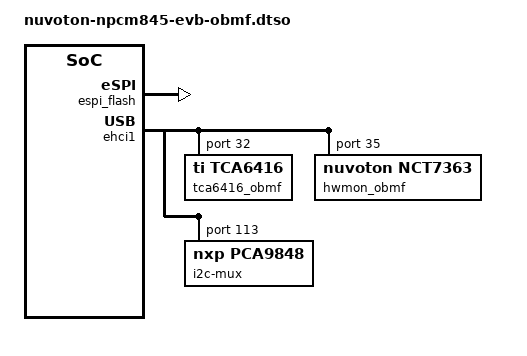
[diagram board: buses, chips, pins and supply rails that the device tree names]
// SPDX-License-Identifier: GPL-2.0
/*
 * OBMF (Open Boot and Management Framework) overlay for the Nuvoton NPCM845 EVB.
 *
 * Describes the OBMF SMC on ehci1 port 1: eSPI/SPI
 * flash, GPIO/SGPIO/VW GPIO, I2C controller/target and I3C channels,
 * plus the reserved memory backing the eSPI flash.
 *
 * Applied at build time on nuvoton-npcm845-evb.dtb to produce
 * nuvoton-npcm845-evb-obmf.dtb.
 */

/dts-v1/;
/plugin/;

#include <dt-bindings/i2c/i2c.h>

/*
 * Overlay labels cannot be referenced from /aliases (dtc would emit the
 * fragment path), so the OBMF I2C channels are aliased by absolute path.
 */
&{/aliases} {
	i2c27 = "/ahb/usb@f0828100/smc@1/i2c-ch@10/i2c";
	i2c28 = "/ahb/usb@f0828100/smc@1/i2c-ch@11/i2c";
	i2c29 = "/ahb/usb@f0828100/smc@1/i2c-ch@12/i2c";
	i2c30 = "/ahb/usb@f0828100/smc@1/i2c-ch@13/i2c";
};

&{/reserved-memory} {
	#address-cells = <2>;
	#size-cells = <2>;

	espi_flash_memory: espi_flash@10000000 {
		reg = <0x0 0x10000000 0x0 0x4000000>;
		no-map;
	};
};

&espi_flash {
	memory-region = <&espi_flash_memory>;
	status = "okay";
};

&ehci1 {
	#address-cells = <1>;
	#size-cells = <0>;

	smc@1 {
		reg = <1>;
		#address-cells = <1>;
		#size-cells = <0>;

		spi@4 {
			reg = <4>;
			nuvoton,flash-type = "espi";
			nuvoton,mtd-name = "npcm-espi-flash";
		};

		smc-gpio@5 {
			reg = <5>;
			gpio-line-names =
				"SMC1GPIO0",  "SMC1GPIO1",  "SMC1GPIO2",  "SMC1GPIO3",
				"SMC1GPIO4",  "SMC1GPIO5",  "SMC1GPIO6",  "SMC1GPIO7",
				"SMC1GPIO8",  "SMC1GPIO9",  "SMC1GPIO10";
		};

		sgpio0@6 {
			reg = <6>;
			gpio-line-names =
				"SMC1SGPIO0GPIO0",   "SMC1SGPIO0GPIO1",   "SMC1SGPIO0GPIO2",   "SMC1SGPIO0GPIO3",
				"SMC1SGPIO0GPIO4",   "SMC1SGPIO0GPIO5",   "SMC1SGPIO0GPIO6",   "SMC1SGPIO0GPIO7",
				"SMC1SGPIO0GPIO8",   "SMC1SGPIO0GPIO9",   "SMC1SGPIO0GPIO10",  "SMC1SGPIO0GPIO11",
				"SMC1SGPIO0GPIO12",  "SMC1SGPIO0GPIO13",  "SMC1SGPIO0GPIO14",  "SMC1SGPIO0GPIO15",
				"SMC1SGPIO0GPIO16",  "SMC1SGPIO0GPIO17",  "SMC1SGPIO0GPIO18",  "SMC1SGPIO0GPIO19",
				"SMC1SGPIO0GPIO20",  "SMC1SGPIO0GPIO21",  "SMC1SGPIO0GPIO22",  "SMC1SGPIO0GPIO23",
				"SMC1SGPIO0GPIO24",  "SMC1SGPIO0GPIO25",  "SMC1SGPIO0GPIO26",  "SMC1SGPIO0GPIO27",
				"SMC1SGPIO0GPIO28",  "SMC1SGPIO0GPIO29",  "SMC1SGPIO0GPIO30",  "SMC1SGPIO0GPIO31",
				"SMC1SGPIO0GPIO32",  "SMC1SGPIO0GPIO33",  "SMC1SGPIO0GPIO34",  "SMC1SGPIO0GPIO35",
				"SMC1SGPIO0GPIO36",  "SMC1SGPIO0GPIO37",  "SMC1SGPIO0GPIO38",  "SMC1SGPIO0GPIO39",
				"SMC1SGPIO0GPIO40",  "SMC1SGPIO0GPIO41",  "SMC1SGPIO0GPIO42",  "SMC1SGPIO0GPIO43",
				"SMC1SGPIO0GPIO44",  "SMC1SGPIO0GPIO45",  "SMC1SGPIO0GPIO46",  "SMC1SGPIO0GPIO47",
				"SMC1SGPIO0GPIO48",  "SMC1SGPIO0GPIO49",  "SMC1SGPIO0GPIO50",  "SMC1SGPIO0GPIO51",
				"SMC1SGPIO0GPIO52",  "SMC1SGPIO0GPIO53",  "SMC1SGPIO0GPIO54",  "SMC1SGPIO0GPIO55",
				"SMC1SGPIO0GPIO56",  "SMC1SGPIO0GPIO57",  "SMC1SGPIO0GPIO58",  "SMC1SGPIO0GPIO59",
				"SMC1SGPIO0GPIO60",  "SMC1SGPIO0GPIO61",  "SMC1SGPIO0GPIO62",  "SMC1SGPIO0GPIO63",
				"SMC1SGPIO0GPIO64",  "SMC1SGPIO0GPIO65",  "SMC1SGPIO0GPIO66",  "SMC1SGPIO0GPIO67",
				"SMC1SGPIO0GPIO68",  "SMC1SGPIO0GPIO69",  "SMC1SGPIO0GPIO70",  "SMC1SGPIO0GPIO71",
				"SMC1SGPIO0GPIO72",  "SMC1SGPIO0GPIO73",  "SMC1SGPIO0GPIO74",  "SMC1SGPIO0GPIO75",
				"SMC1SGPIO0GPIO76",  "SMC1SGPIO0GPIO77",  "SMC1SGPIO0GPIO78",  "SMC1SGPIO0GPIO79",
				"SMC1SGPIO0GPIO80",  "SMC1SGPIO0GPIO81",  "SMC1SGPIO0GPIO82",  "SMC1SGPIO0GPIO83",
				"SMC1SGPIO0GPIO84",  "SMC1SGPIO0GPIO85",  "SMC1SGPIO0GPIO86",  "SMC1SGPIO0GPIO87",
				"SMC1SGPIO0GPIO88",  "SMC1SGPIO0GPIO89",  "SMC1SGPIO0GPIO90",  "SMC1SGPIO0GPIO91",
				"SMC1SGPIO0GPIO92",  "SMC1SGPIO0GPIO93",  "SMC1SGPIO0GPIO94",  "SMC1SGPIO0GPIO95",
				"SMC1SGPIO0GPIO96",  "SMC1SGPIO0GPIO97",  "SMC1SGPIO0GPIO98",  "SMC1SGPIO0GPIO99",
				"SMC1SGPIO0GPIO100", "SMC1SGPIO0GPIO101", "SMC1SGPIO0GPIO102", "SMC1SGPIO0GPIO103",
				"SMC1SGPIO0GPIO104", "SMC1SGPIO0GPIO105", "SMC1SGPIO0GPIO106", "SMC1SGPIO0GPIO107",
				"SMC1SGPIO0GPIO108", "SMC1SGPIO0GPIO109", "SMC1SGPIO0GPIO110", "SMC1SGPIO0GPIO111",
				"SMC1SGPIO0GPIO112", "SMC1SGPIO0GPIO113", "SMC1SGPIO0GPIO114", "SMC1SGPIO0GPIO115",
				"SMC1SGPIO0GPIO116", "SMC1SGPIO0GPIO117", "SMC1SGPIO0GPIO118", "SMC1SGPIO0GPIO119",
				"SMC1SGPIO0GPIO120", "SMC1SGPIO0GPIO121", "SMC1SGPIO0GPIO122", "SMC1SGPIO0GPIO123",
				"SMC1SGPIO0GPIO124", "SMC1SGPIO0GPIO125", "SMC1SGPIO0GPIO126", "SMC1SGPIO0GPIO127";
		};

		sgpio1@7 {
			reg = <7>;
			gpio-line-names =
				"SMC1SGPIO1GPIO0",   "SMC1SGPIO1GPIO1",   "SMC1SGPIO1GPIO2",   "SMC1SGPIO1GPIO3",
				"SMC1SGPIO1GPIO4",   "SMC1SGPIO1GPIO5",   "SMC1SGPIO1GPIO6",   "SMC1SGPIO1GPIO7",
				"SMC1SGPIO1GPIO8",   "SMC1SGPIO1GPIO9",   "SMC1SGPIO1GPIO10",  "SMC1SGPIO1GPIO11",
				"SMC1SGPIO1GPIO12",  "SMC1SGPIO1GPIO13",  "SMC1SGPIO1GPIO14",  "SMC1SGPIO1GPIO15",
				"SMC1SGPIO1GPIO16",  "SMC1SGPIO1GPIO17",  "SMC1SGPIO1GPIO18",  "SMC1SGPIO1GPIO19",
				"SMC1SGPIO1GPIO20",  "SMC1SGPIO1GPIO21",  "SMC1SGPIO1GPIO22",  "SMC1SGPIO1GPIO23",
				"SMC1SGPIO1GPIO24",  "SMC1SGPIO1GPIO25",  "SMC1SGPIO1GPIO26",  "SMC1SGPIO1GPIO27",
				"SMC1SGPIO1GPIO28",  "SMC1SGPIO1GPIO29",  "SMC1SGPIO1GPIO30",  "SMC1SGPIO1GPIO31",
				"SMC1SGPIO1GPIO32",  "SMC1SGPIO1GPIO33",  "SMC1SGPIO1GPIO34",  "SMC1SGPIO1GPIO35",
				"SMC1SGPIO1GPIO36",  "SMC1SGPIO1GPIO37",  "SMC1SGPIO1GPIO38",  "SMC1SGPIO1GPIO39",
				"SMC1SGPIO1GPIO40",  "SMC1SGPIO1GPIO41",  "SMC1SGPIO1GPIO42",  "SMC1SGPIO1GPIO43",
				"SMC1SGPIO1GPIO44",  "SMC1SGPIO1GPIO45",  "SMC1SGPIO1GPIO46",  "SMC1SGPIO1GPIO47",
				"SMC1SGPIO1GPIO48",  "SMC1SGPIO1GPIO49",  "SMC1SGPIO1GPIO50",  "SMC1SGPIO1GPIO51",
				"SMC1SGPIO1GPIO52",  "SMC1SGPIO1GPIO53",  "SMC1SGPIO1GPIO54",  "SMC1SGPIO1GPIO55",
				"SMC1SGPIO1GPIO56",  "SMC1SGPIO1GPIO57",  "SMC1SGPIO1GPIO58",  "SMC1SGPIO1GPIO59",
				"SMC1SGPIO1GPIO60",  "SMC1SGPIO1GPIO61",  "SMC1SGPIO1GPIO62",  "SMC1SGPIO1GPIO63",
				"SMC1SGPIO1GPIO64",  "SMC1SGPIO1GPIO65",  "SMC1SGPIO1GPIO66",  "SMC1SGPIO1GPIO67",
				"SMC1SGPIO1GPIO68",  "SMC1SGPIO1GPIO69",  "SMC1SGPIO1GPIO70",  "SMC1SGPIO1GPIO71",
				"SMC1SGPIO1GPIO72",  "SMC1SGPIO1GPIO73",  "SMC1SGPIO1GPIO74",  "SMC1SGPIO1GPIO75",
				"SMC1SGPIO1GPIO76",  "SMC1SGPIO1GPIO77",  "SMC1SGPIO1GPIO78",  "SMC1SGPIO1GPIO79",
				"SMC1SGPIO1GPIO80",  "SMC1SGPIO1GPIO81",  "SMC1SGPIO1GPIO82",  "SMC1SGPIO1GPIO83",
				"SMC1SGPIO1GPIO84",  "SMC1SGPIO1GPIO85",  "SMC1SGPIO1GPIO86",  "SMC1SGPIO1GPIO87",
				"SMC1SGPIO1GPIO88",  "SMC1SGPIO1GPIO89",  "SMC1SGPIO1GPIO90",  "SMC1SGPIO1GPIO91",
				"SMC1SGPIO1GPIO92",  "SMC1SGPIO1GPIO93",  "SMC1SGPIO1GPIO94",  "SMC1SGPIO1GPIO95",
				"SMC1SGPIO1GPIO96",  "SMC1SGPIO1GPIO97",  "SMC1SGPIO1GPIO98",  "SMC1SGPIO1GPIO99",
				"SMC1SGPIO1GPIO100", "SMC1SGPIO1GPIO101", "SMC1SGPIO1GPIO102", "SMC1SGPIO1GPIO103",
				"SMC1SGPIO1GPIO104", "SMC1SGPIO1GPIO105", "SMC1SGPIO1GPIO106", "SMC1SGPIO1GPIO107",
				"SMC1SGPIO1GPIO108", "SMC1SGPIO1GPIO109", "SMC1SGPIO1GPIO110", "SMC1SGPIO1GPIO111",
				"SMC1SGPIO1GPIO112", "SMC1SGPIO1GPIO113", "SMC1SGPIO1GPIO114", "SMC1SGPIO1GPIO115",
				"SMC1SGPIO1GPIO116", "SMC1SGPIO1GPIO117", "SMC1SGPIO1GPIO118", "SMC1SGPIO1GPIO119",
				"SMC1SGPIO1GPIO120", "SMC1SGPIO1GPIO121", "SMC1SGPIO1GPIO122", "SMC1SGPIO1GPIO123",
				"SMC1SGPIO1GPIO124", "SMC1SGPIO1GPIO125", "SMC1SGPIO1GPIO126", "SMC1SGPIO1GPIO127";
		};

		vwgpio@8 {
			reg = <8>;
			gpio-line-names =
				"SMC1VWGPIO0", "SMC1VWGPIO1", "SMC1VWGPIO2", "SMC1VWGPIO3",
				"SMC1VWGPIO4", "SMC1VWGPIO5", "SMC1VWGPIO6", "SMC1VWGPIO7",
				"SMC1VWGPIO8", "SMC1VWGPIO9", "SMC1VWGPIO10", "SMC1VWGPIO11",
				"SMC1VWGPIO12", "SMC1VWGPIO13", "SMC1VWGPIO14", "SMC1VWGPIO15",
				"SMC1VWGPIO16", "SMC1VWGPIO17", "SMC1VWGPIO18", "SMC1VWGPIO19",
				"SMC1VWGPIO20", "SMC1VWGPIO21", "SMC1VWGPIO22", "SMC1VWGPIO23",
				"SMC1VWGPIO24", "SMC1VWGPIO25", "SMC1VWGPIO26", "SMC1VWGPIO27",
				"SMC1VWGPIO28", "SMC1VWGPIO29", "SMC1VWGPIO30", "SMC1VWGPIO31",
				"SMC1VWGPIO32", "SMC1VWGPIO33", "SMC1VWGPIO34", "SMC1VWGPIO35",
				"SMC1VWGPIO36", "SMC1VWGPIO37", "SMC1VWGPIO38", "SMC1VWGPIO39",
				"SMC1VWGPIO40", "SMC1VWGPIO41", "SMC1VWGPIO42", "SMC1VWGPIO43",
				"SMC1VWGPIO44", "SMC1VWGPIO45", "SMC1VWGPIO46", "SMC1VWGPIO47",
				"SMC1VWGPIO48", "SMC1VWGPIO49", "SMC1VWGPIO50", "SMC1VWGPIO51",
				"SMC1VWGPIO52", "SMC1VWGPIO53", "SMC1VWGPIO54", "SMC1VWGPIO55",
				"SMC1VWGPIO56", "SMC1VWGPIO57", "SMC1VWGPIO58", "SMC1VWGPIO59",
				"SMC1VWGPIO60", "SMC1VWGPIO61", "SMC1VWGPIO62", "SMC1VWGPIO63",
				"SMC1VWGPIO64", "SMC1VWGPIO65", "SMC1VWGPIO66", "SMC1VWGPIO67",
				"SMC1VWGPIO68", "SMC1VWGPIO69", "SMC1VWGPIO70", "SMC1VWGPIO71",
				"SMC1VWGPIO72", "SMC1VWGPIO73", "SMC1VWGPIO74", "SMC1VWGPIO75",
				"SMC1VWGPIO76", "SMC1VWGPIO77", "SMC1VWGPIO78", "SMC1VWGPIO79",
				"SMC1VWGPIO80", "SMC1VWGPIO81", "SMC1VWGPIO82", "SMC1VWGPIO83",
				"SMC1VWGPIO84", "SMC1VWGPIO85", "SMC1VWGPIO86", "SMC1VWGPIO87",
				"SMC1VWGPIO88", "SMC1VWGPIO89", "SMC1VWGPIO90", "SMC1VWGPIO91",
				"SMC1VWGPIO92", "SMC1VWGPIO93", "SMC1VWGPIO94", "SMC1VWGPIO95",
				"SMC1VWGPIO96", "SMC1VWGPIO97", "SMC1VWGPIO98", "SMC1VWGPIO99",
				"SMC1VWGPIO100", "SMC1VWGPIO101", "SMC1VWGPIO102", "SMC1VWGPIO103",
				"SMC1VWGPIO104", "SMC1VWGPIO105", "SMC1VWGPIO106", "SMC1VWGPIO107",
				"SMC1VWGPIO108", "SMC1VWGPIO109", "SMC1VWGPIO110", "SMC1VWGPIO111",
				"SMC1VWGPIO112", "SMC1VWGPIO113", "SMC1VWGPIO114", "SMC1VWGPIO115",
				"SMC1VWGPIO116", "SMC1VWGPIO117", "SMC1VWGPIO118", "SMC1VWGPIO119",
				"SMC1VWGPIO120", "SMC1VWGPIO121", "SMC1VWGPIO122", "SMC1VWGPIO123",
				"SMC1VWGPIO124", "SMC1VWGPIO125", "SMC1VWGPIO126", "SMC1VWGPIO127";
		};

		i2c-ch@10 {
			reg = <10>;
			#address-cells = <1>;
			#size-cells = <0>;

			i2c27: i2c {
				#address-cells = <1>;
				#size-cells = <0>;

				mctp-controller;
				mctp@12 {
					compatible = "mctp-i2c-controller";
					reg = <(0x12 | I2C_OWN_SLAVE_ADDRESS)>;
				};
			};
		};

		i2c-ch@11 {
			reg = <11>;
			#address-cells = <1>;
			#size-cells = <0>;

			i2c28: i2c {
				#address-cells = <1>;
				#size-cells = <0>;

				mctp-controller;
				mctp@14 {
					compatible = "mctp-i2c-controller";
					reg = <(0x14 | I2C_OWN_SLAVE_ADDRESS)>;
				};
			};
		};

		i2c-ch@12 {
			reg = <12>;
			#address-cells = <1>;
			#size-cells = <0>;

			i2c29: i2c {
				#address-cells = <1>;
				#size-cells = <0>;
			};
		};

		i2c-ch@13 {
			reg = <13>;
			#address-cells = <1>;
			#size-cells = <0>;

			i2c30: i2c {
				#address-cells = <1>;
				#size-cells = <0>;

				tca6416_obmf: gpio@20 {
					compatible = "ti,tca6416";
					reg = <0x20>;
					gpio-controller;
					#gpio-cells = <2>;
				};

				hwmon_obmf: hwmon@23 {
					compatible = "nuvoton,nct7363";
					reg = <0x23>;

					nuvoton,fscpxduty = <0x7F>;
					#pwm-cells = <2>;
					fan-0 {
						pwms = <&hwmon_obmf 0 50000>;
						tach-ch = /bits/ 8 <0x00>;
					};
				};

				i2c-mux@71 {
					compatible = "nxp,pca9848";
					reg = <0x71>;
					#address-cells = <1>;
					#size-cells = <0>;
					i2c-mux-idle-disconnect;

					i2c@0 {
						#address-cells = <1>;
						#size-cells = <0>;
						reg = <0>;

						tmp75@48 {
							compatible = "ti,tmp75";
							reg = <0x48>;
						};
					};

					i2c@1 {
						#address-cells = <1>;
						#size-cells = <0>;
						reg = <1>;

						tmp75@48 {
							compatible = "ti,tmp75";
							reg = <0x48>;
						};
					};

					i2c@2 {
						#address-cells = <1>;
						#size-cells = <0>;
						reg = <2>;

						tmp75@48 {
							compatible = "ti,tmp75";
							reg = <0x48>;
						};
					};

					i2c@3 {
						#address-cells = <1>;
						#size-cells = <0>;
						reg = <3>;

						tmp75@48 {
							compatible = "ti,tmp75";
							reg = <0x48>;
						};
					};

					i2c@4 {
						#address-cells = <1>;
						#size-cells = <0>;
						reg = <4>;

						tmp75@49 {
							compatible = "ti,tmp75";
							reg = <0x49>;
						};
					};

					i2c@5 {
						#address-cells = <1>;
						#size-cells = <0>;
						reg = <5>;

						tmp75@4a {
							compatible = "ti,tmp75";
							reg = <0x4a>;
						};
					};

					i2c@6 {
						#address-cells = <1>;
						#size-cells = <0>;
						reg = <6>;

						tmp75@4c {
							compatible = "ti,tmp75";
							reg = <0x4c>;
						};
					};

					i2c@7 {
						#address-cells = <1>;
						#size-cells = <0>;
						reg = <7>;

						tmp75@4d {
							compatible = "ti,tmp75";
							reg = <0x4d>;
						};
					};
				};
			};
		};

		i2c-tgt@14 {
			reg = <14>;
			obmf,paired-controller = <&i2c27>;
		};

		i2c-tgt@15 {
			reg = <15>;
			obmf,paired-controller = <&i2c28>;
		};

		spi@17 {
			reg = <17>;
			nuvoton,flash-type = "spi-nor";
			#address-cells = <1>;
			#size-cells = <0>;

			nuvoton,flash-size = <0x4000000>;
			nuvoton,flash-erasesize = <0x1000>;
			nuvoton,flash-cs = <0x1>;
			nuvoton,mtd-name = "npcm-spi-flash";
		};

		i3c-ch@18 {
			reg = <18>;
			i3c {
				#address-cells = <3>;
				#size-cells    = <0>;
				mctp-controller;
			};
		};
	};
};
